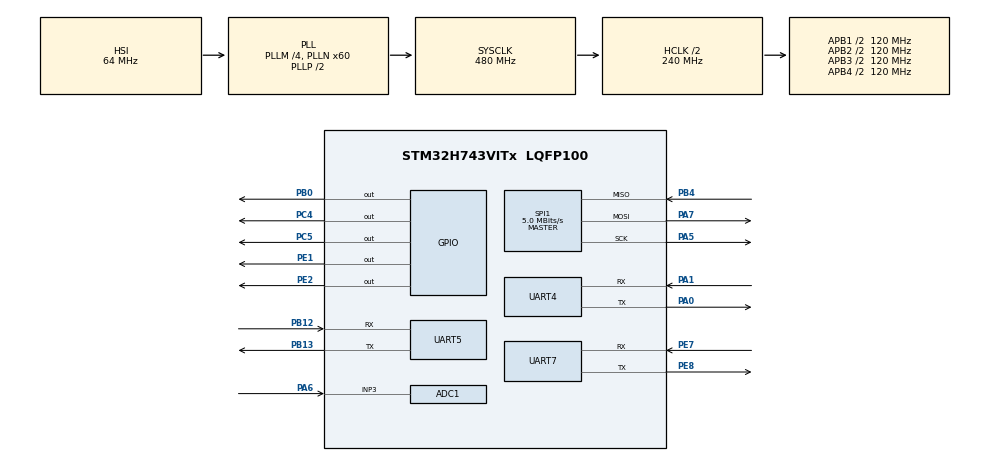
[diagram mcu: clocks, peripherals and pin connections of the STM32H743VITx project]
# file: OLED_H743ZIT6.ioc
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ADC1.Channel-0\#ChannelRegularConversion=ADC_CHANNEL_3
ADC1.NbrOfConversionFlag=1
ADC1.OffsetNumber-0\#ChannelRegularConversion=ADC_OFFSET_NONE
ADC1.OffsetSignedSaturation-0\#ChannelRegularConversion=DISABLE
ADC1.Rank-0\#ChannelRegularConversion=1
ADC1.Resolution=ADC_RESOLUTION_12B
ADC1.SamplingTime-0\#ChannelRegularConversion=ADC_SAMPLETIME_810CYCLES_5
ADC1.master=1
CORTEX_M7.AccessPermission_Spec=MPU_REGION_FULL_ACCESS
CORTEX_M7.DisableExec_Spec=MPU_INSTRUCTION_ACCESS_ENABLE
CORTEX_M7.default_mode_Activation=1
Dma.Request0=UART4_RX
Dma.Request1=UART4_TX
Dma.Request2=UART5_RX
Dma.Request3=UART7_RX
Dma.Request4=UART7_TX
Dma.UART4_RX.0.Direction=DMA_PERIPH_TO_MEMORY
Dma.UART4_RX.0.EventEnable=DISABLE
Dma.UART4_RX.0.FIFOMode=DMA_FIFOMODE_DISABLE
Dma.UART4_RX.0.Instance=DMA1_Stream0
Dma.UART4_RX.0.MemDataAlignment=DMA_MDATAALIGN_BYTE
Dma.UART4_RX.0.MemInc=DMA_MINC_ENABLE
Dma.UART4_RX.0.Mode=DMA_CIRCULAR
Dma.UART4_RX.0.PeriphDataAlignment=DMA_PDATAALIGN_BYTE
Dma.UART4_RX.0.PeriphInc=DMA_PINC_DISABLE
Dma.UART4_RX.0.Polarity=HAL_DMAMUX_REQ_GEN_RISING
Dma.UART4_RX.0.Priority=DMA_PRIORITY_LOW
Dma.UART4_RX.0.RequestNumber=1
Dma.UART4_RX.0.SignalID=NONE
Dma.UART4_RX.0.SyncEnable=DISABLE
Dma.UART4_RX.0.SyncPolarity=HAL_DMAMUX_SYNC_NO_EVENT
Dma.UART4_RX.0.SyncRequestNumber=1
Dma.UART4_RX.0.SyncSignalID=NONE
Dma.UART4_TX.1.Direction=DMA_MEMORY_TO_PERIPH
Dma.UART4_TX.1.EventEnable=DISABLE
Dma.UART4_TX.1.FIFOMode=DMA_FIFOMODE_DISABLE
Dma.UART4_TX.1.Instance=DMA1_Stream1
Dma.UART4_TX.1.MemDataAlignment=DMA_MDATAALIGN_BYTE
Dma.UART4_TX.1.MemInc=DMA_MINC_ENABLE
Dma.UART4_TX.1.Mode=DMA_NORMAL
Dma.UART4_TX.1.PeriphDataAlignment=DMA_PDATAALIGN_BYTE
Dma.UART4_TX.1.PeriphInc=DMA_PINC_DISABLE
Dma.UART4_TX.1.Polarity=HAL_DMAMUX_REQ_GEN_RISING
Dma.UART4_TX.1.Priority=DMA_PRIORITY_LOW
Dma.UART4_TX.1.RequestNumber=1
Dma.UART4_TX.1.SignalID=NONE
Dma.UART4_TX.1.SyncEnable=DISABLE
Dma.UART4_TX.1.SyncPolarity=HAL_DMAMUX_SYNC_NO_EVENT
Dma.UART4_TX.1.SyncRequestNumber=1
Dma.UART4_TX.1.SyncSignalID=NONE
Dma.UART5_RX.2.Direction=DMA_PERIPH_TO_MEMORY
Dma.UART5_RX.2.EventEnable=DISABLE
Dma.UART5_RX.2.FIFOMode=DMA_FIFOMODE_DISABLE
Dma.UART5_RX.2.Instance=DMA1_Stream2
Dma.UART5_RX.2.MemDataAlignment=DMA_MDATAALIGN_BYTE
Dma.UART5_RX.2.MemInc=DMA_MINC_ENABLE
Dma.UART5_RX.2.Mode=DMA_CIRCULAR
Dma.UART5_RX.2.PeriphDataAlignment=DMA_PDATAALIGN_BYTE
Dma.UART5_RX.2.PeriphInc=DMA_PINC_DISABLE
Dma.UART5_RX.2.Polarity=HAL_DMAMUX_REQ_GEN_RISING
Dma.UART5_RX.2.Priority=DMA_PRIORITY_LOW
Dma.UART5_RX.2.RequestNumber=1
Dma.UART5_RX.2.SignalID=NONE
Dma.UART5_RX.2.SyncEnable=DISABLE
Dma.UART5_RX.2.SyncPolarity=HAL_DMAMUX_SYNC_NO_EVENT
Dma.UART5_RX.2.SyncRequestNumber=1
Dma.UART5_RX.2.SyncSignalID=NONE
Dma.UART7_RX.3.Direction=DMA_PERIPH_TO_MEMORY
Dma.UART7_RX.3.EventEnable=DISABLE
Dma.UART7_RX.3.FIFOMode=DMA_FIFOMODE_DISABLE
Dma.UART7_RX.3.Instance=DMA1_Stream3
Dma.UART7_RX.3.MemDataAlignment=DMA_MDATAALIGN_BYTE
Dma.UART7_RX.3.MemInc=DMA_MINC_ENABLE
Dma.UART7_RX.3.Mode=DMA_CIRCULAR
Dma.UART7_RX.3.PeriphDataAlignment=DMA_PDATAALIGN_BYTE
Dma.UART7_RX.3.PeriphInc=DMA_PINC_DISABLE
Dma.UART7_RX.3.Polarity=HAL_DMAMUX_REQ_GEN_RISING
Dma.UART7_RX.3.Priority=DMA_PRIORITY_LOW
Dma.UART7_RX.3.RequestNumber=1
Dma.UART7_RX.3.SignalID=NONE
Dma.UART7_RX.3.SyncEnable=DISABLE
Dma.UART7_RX.3.SyncPolarity=HAL_DMAMUX_SYNC_NO_EVENT
Dma.UART7_RX.3.SyncRequestNumber=1
Dma.UART7_RX.3.SyncSignalID=NONE
Dma.UART7_TX.4.Direction=DMA_MEMORY_TO_PERIPH
Dma.UART7_TX.4.EventEnable=DISABLE
Dma.UART7_TX.4.FIFOMode=DMA_FIFOMODE_DISABLE
Dma.UART7_TX.4.Instance=DMA1_Stream4
Dma.UART7_TX.4.MemDataAlignment=DMA_MDATAALIGN_BYTE
Dma.UART7_TX.4.MemInc=DMA_MINC_ENABLE
Dma.UART7_TX.4.Mode=DMA_NORMAL
Dma.UART7_TX.4.PeriphDataAlignment=DMA_PDATAALIGN_BYTE
Dma.UART7_TX.4.PeriphInc=DMA_PINC_DISABLE
Dma.UART7_TX.4.Polarity=HAL_DMAMUX_REQ_GEN_RISING
Dma.UART7_TX.4.Priority=DMA_PRIORITY_LOW
Dma.UART7_TX.4.RequestNumber=1
Dma.UART7_TX.4.SignalID=NONE
Dma.UART7_TX.4.SyncEnable=DISABLE
Dma.UART7_TX.4.SyncPolarity=HAL_DMAMUX_SYNC_NO_EVENT
Dma.UART7_TX.4.SyncRequestNumber=1
Dma.UART7_TX.4.SyncSignalID=NONE
Mcu.Family=STM32H7
Mcu.Name=STM32H743VITx
Mcu.Package=LQFP100
NVIC.DMA1_Stream0_IRQn=true\:0\:0\:false\:false\:true\:false\:true\:true
NVIC.DMA1_Stream1_IRQn=true\:0\:0\:false\:false\:true\:false\:true\:true
NVIC.DMA1_Stream2_IRQn=true\:0\:0\:false\:false\:true\:false\:true\:true
NVIC.DMA1_Stream3_IRQn=true\:0\:0\:false\:false\:true\:false\:true\:true
NVIC.DMA1_Stream4_IRQn=true\:0\:0\:false\:false\:true\:false\:true\:true
NVIC.PriorityGroup=NVIC_PRIORITYGROUP_4
NVIC.TIM3_IRQn=true\:0\:0\:false\:false\:true\:true\:true\:true
NVIC.UART4_IRQn=true\:4\:0\:true\:false\:true\:true\:true\:true
NVIC.UART5_IRQn=true\:2\:0\:true\:false\:true\:true\:true\:true
NVIC.UART7_IRQn=true\:6\:0\:true\:false\:true\:true\:true\:true
PA0.Mode=Asynchronous
PA0.Signal=UART4_TX
PA1.Mode=Asynchronous
PA1.Signal=UART4_RX
PA5.Mode=Full_Duplex_Master
PA5.Signal=SPI1_SCK
PA6.Signal=ADCx_INP3
PA7.Mode=Full_Duplex_Master
PA7.Signal=SPI1_MOSI
PB0.Signal=GPIO_Output
PB12.Mode=Asynchronous
PB12.Signal=UART5_RX
PB13.Mode=Asynchronous
PB13.Signal=UART5_TX
PB4\ (NJTRST).Mode=Full_Duplex_Master
PB4\ (NJTRST).Signal=SPI1_MISO
PC4.Signal=GPIO_Output
PC5.Signal=GPIO_Output
PE1.PinState=GPIO_PIN_RESET
PE1.Signal=GPIO_Output
PE2.PinState=GPIO_PIN_RESET
PE2.Signal=GPIO_Output
PE7.Mode=Asynchronous
PE7.Signal=UART7_RX
PE8.Mode=Asynchronous
PE8.Signal=UART7_TX
PH0-OSC_IN\ (PH0).Mode=HSE-External-Oscillator
PH0-OSC_IN\ (PH0).Signal=RCC_OSC_IN
PH1-OSC_OUT\ (PH1).Mode=HSE-External-Oscillator
PH1-OSC_OUT\ (PH1).Signal=RCC_OSC_OUT
ProjectManager.HeapSize=0x200
ProjectManager.StackSize=0x400
ProjectManager.TargetToolchain=MDK-ARM V5.32
RCC.ADCFreq_Value=32000000
RCC.APB1Freq_Value=120000000
RCC.APB2Freq_Value=120000000
RCC.APB3Freq_Value=120000000
RCC.APB4Freq_Value=120000000
RCC.CortexFreq_Value=480000000
RCC.D1PPRE=RCC_APB3_DIV2
RCC.D2PPRE1=RCC_APB1_DIV2
RCC.D2PPRE2=RCC_APB2_DIV2
RCC.D3PPRE=RCC_APB4_DIV2
RCC.DIVM1=4
RCC.DIVM2=4
RCC.DIVN1=60
RCC.DIVN2=12
RCC.DIVP2=6
RCC.DIVQ1=12
RCC.HCLKFreq_Value=240000000
RCC.HPRE=RCC_HCLK_DIV2
RCC.PLL2FRACN=0
RCC.PLL3FRACN=0
RCC.PLLFRACN=0
RCC.SYSCLKFreq_VALUE=480000000
RCC.SYSCLKSource=RCC_SYSCLKSOURCE_PLLCLK
RCC.USBFreq_Value=80000000
SH.ADCx_INP3.0=ADC1_INP3,IN3-Single-Ended
SPI1.BaudRatePrescaler=SPI_BAUDRATEPRESCALER_16
SPI1.CLKPhase=SPI_PHASE_2EDGE
SPI1.CLKPolarity=SPI_POLARITY_HIGH
SPI1.CalculateBaudRate=5.0 MBits/s
SPI1.DataSize=SPI_DATASIZE_8BIT
SPI1.Direction=SPI_DIRECTION_2LINES
SPI1.FifoThreshold=SPI_FIFO_THRESHOLD_01DATA
SPI1.MasterKeepIOState=SPI_MASTER_KEEP_IO_STATE_ENABLE
SPI1.Mode=SPI_MODE_MASTER
SPI1.NSSPMode=SPI_NSS_PULSE_DISABLE
SPI1.VirtualType=VM_MASTER
TIM3.Period=200-1
TIM3.Prescaler=2400-1
VP_MEMORYMAP_VS_MEMORYMAP.Mode=CurAppReg
VP_TIM3_VS_ClockSourceINT.Mode=Internal
board=custom

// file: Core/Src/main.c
/* USER CODE BEGIN Header */
/**
  ******************************************************************************
  * @file           : main.c
  * @brief          : Main program body
  ******************************************************************************
  * @attention
  *
  * Copyright (c) 2026 STMicroelectronics.
  * All rights reserved.
  *
  * This software is licensed under terms that can be found in the LICENSE file
  * in the root directory of this software component.
  * If no LICENSE file comes with this software, it is provided AS-IS.
  *
  ******************************************************************************
  */
/* USER CODE END Header */
#include "main.h"
#include "adc.h"
#include "dma.h"
#include "spi.h"
#include "tim.h"
#include "usart.h"
#include "gpio.h"

/* USER CODE BEGIN Includes */
#include "test.h"
#include "OLED_1in51.h"
#include "heart_adc.h"
#include "JY62.h"
#include "string.h"
#include "aspro.h"
/* USER CODE END Includes */

/* USER CODE BEGIN PV */
// 在main.c中，将BlackImage放在DTCM（0x20000000区域）
UBYTE BlackImage[1024];
UBYTE display_buf[30];
uint8_t Rx_buffer[64];
#define Rx_size 64
uint8_t Rx_len = 0;   // 接收到的数据长度
uint8_t flag = 0;       // 接收完成标志
JY62_Instance_t jy62;
uint8_t fall[30];
uint8_t Tx_Buffer[30];
uint8_t AS_buffer[64];
uint8_t AS_rx_buffer[10];
uint8_t AS_len = 0;
uint8_t light_time = 0;
uint16_t  len = 0;
uint16_t light_pin = 0;

/* USER CODE END PV */

void SystemClock_Config(void);
static void MPU_Config(void);

/* USER CODE BEGIN 0 */
	uint32_t last_display_tick = 0;
	uint32_t last_jy_tick = 0;
	uint32_t last_aspro_tick = 0;
/* USER CODE END 0 */

int main(void)
{

  /* MPU Configuration--------------------------------------------------------*/
  MPU_Config();

  /* MCU Configuration--------------------------------------------------------*/

  /* Reset of all peripherals, Initializes the Flash interface and the Systick. */
  HAL_Init();

  /* Configure the system clock */
  SystemClock_Config();

  /* Initialize all configured peripherals */
  MX_GPIO_Init();
  MX_DMA_Init();
  MX_SPI1_Init();
  MX_ADC1_Init();
  MX_UART4_Init();
  MX_TIM3_Init();
  MX_UART5_Init();
  MX_UART7_Init();
  /* USER CODE BEGIN 2 */
	System_Init();
  OLED_1IN51_Init();
  Paint_NewImage(BlackImage, OLED_1IN51_WIDTH, OLED_1IN51_HEIGHT, 0, BLACK);
  Paint_SelectImage(BlackImage);
  uint32_t last_send_tick = 0;
  HAL_TIM_Base_Start_IT(&htim3);

	HAL_UART_Receive_DMA(&huart4, Rx_buffer, Rx_size);
	__HAL_UART_ENABLE_IT(&huart4, UART_IT_IDLE);

	JY62_Init(&jy62);
	HAL_UART_Receive_DMA(&huart5, jy62.rx_fifo, JY_BUF_SIZE);
	__HAL_UART_ENABLE_IT(&huart5, UART_IT_IDLE);

  /* USER CODE END 2 */

  /* Infinite loop */
  /* USER CODE BEGIN WHILE */
  while (1)
  {
			if(flag)
				{
					flag = 0;
					Paint_ClearWindows(0, 30, 63, 90, BLACK);
					Paint_DrawString_EN(0, 30,(char*)Rx_buffer, &Font16, WHITE, BLACK);
					OLED_1IN51_Display(BlackImage);
					if (HAL_GetTick() - last_aspro_tick >= 1000)
					{
						HAL_UART_Transmit_DMA(&huart7,AS_buffer,len);
						last_aspro_tick = HAL_GetTick();
					}
					//memset(Rx_buffer, 0, Rx_size);
				}
				if(HAL_GetTick() - last_jy_tick >= 100)
				{
					Paint_ClearWindows(0, 80, 64, 127, BLACK);
					sprintf((char*)fall,"Fall:%.1f%%",(jy62.fall_probability *100));
					 Paint_DrawString_EN(0, 80,(char*)fall, &Font16, WHITE, BLACK);
					//Paint_DrawNum(0, 90,(jy62.fall_probability *100), &Font16, 2, WHITE, BLACK);
					OLED_1IN51_Display(BlackImage);
					last_jy_tick = HAL_GetTick();
				}

		if (HAL_GetTick() - last_display_tick >= 500)
    {
        //Paint_Clear(BLACK);
				Paint_ClearWindows(0, 0, 63, 60, BLACK);
        sprintf((char*)display_buf, "BPM: %d", BPM);
        Paint_DrawString_EN(0, 0,(char*)display_buf, &Font16, WHITE, BLACK);

        if(QS)
				{ // 如果检测到心跳瞬间，可以在屏幕上显示个符号
					QS = false;
					Paint_DrawChar(50, 30, 'B', &Font8, WHITE, BLACK);
				}
				//Paint_ClearWindows(0, 0, 0, 60, BLACK);
        OLED_1IN51_Display(BlackImage);
				len = Process_All_Data((char*)Rx_buffer,BPM,(jy62.fall_probability *100),(char*)AS_buffer);

				HAL_UART_Transmit_DMA(&huart4,AS_buffer,len);
				if (AS_len > 0)
				{
        if (AS_rx_buffer[0] == '1')
				{
					light_pin = GPIO_PIN_1;
					light_time = 0;
				}
				else if (AS_rx_buffer[0] == '2')
				{
					light_pin = GPIO_PIN_2;
					light_time = 0;
				}
        AS_len = 0;
				}

				if (light_pin != 0)
				{
					HAL_GPIO_TogglePin(GPIOE, light_pin); // light_pin 是谁，就反转谁
					light_time++;
					if (light_time >= 10)
					{
            light_pin = 0; // 闪够10次（5秒），清零引脚，停止闪烁
					}
				}
        last_display_tick = HAL_GetTick();
    }
		if (HAL_GetTick() - last_aspro_tick >= 1000)
		{
			HAL_UART_Transmit_DMA(&huart7,AS_buffer,len);
			last_aspro_tick = HAL_GetTick();
		}
    /* USER CODE END WHILE */

  }
}

void SystemClock_Config(void)
{
  RCC_OscInitTypeDef RCC_OscInitStruct = {0};
  RCC_ClkInitTypeDef RCC_ClkInitStruct = {0};

  /** Supply configuration update enable
  */
  HAL_PWREx_ConfigSupply(PWR_LDO_SUPPLY);

  /** Configure the main internal regulator output voltage
  */
  __HAL_PWR_VOLTAGESCALING_CONFIG(PWR_REGULATOR_VOLTAGE_SCALE0);

  while(!__HAL_PWR_GET_FLAG(PWR_FLAG_VOSRDY)) {}

  /** Initializes the RCC Oscillators according to the specified parameters
  * in the RCC_OscInitTypeDef structure.
  */
  RCC_OscInitStruct.OscillatorType = RCC_OSCILLATORTYPE_HSI;
  RCC_OscInitStruct.HSIState = RCC_HSI_DIV1;
  RCC_OscInitStruct.HSICalibrationValue = RCC_HSICALIBRATION_DEFAULT;
  RCC_OscInitStruct.PLL.PLLState = RCC_PLL_ON;
  RCC_OscInitStruct.PLL.PLLSource = RCC_PLLSOURCE_HSI;
  RCC_OscInitStruct.PLL.PLLM = 4;
  RCC_OscInitStruct.PLL.PLLN = 60;
  RCC_OscInitStruct.PLL.PLLP = 2;
  RCC_OscInitStruct.PLL.PLLQ = 12;
  RCC_OscInitStruct.PLL.PLLR = 2;
  RCC_OscInitStruct.PLL.PLLRGE = RCC_PLL1VCIRANGE_3;
  RCC_OscInitStruct.PLL.PLLVCOSEL = RCC_PLL1VCOWIDE;
  RCC_OscInitStruct.PLL.PLLFRACN = 0;
  if (HAL_RCC_OscConfig(&RCC_OscInitStruct) != HAL_OK)
  {
    Error_Handler();
  }

  /** Initializes the CPU, AHB and APB buses clocks
  */
  RCC_ClkInitStruct.ClockType = RCC_CLOCKTYPE_HCLK|RCC_CLOCKTYPE_SYSCLK
                              |RCC_CLOCKTYPE_PCLK1|RCC_CLOCKTYPE_PCLK2
                              |RCC_CLOCKTYPE_D3PCLK1|RCC_CLOCKTYPE_D1PCLK1;
  RCC_ClkInitStruct.SYSCLKSource = RCC_SYSCLKSOURCE_PLLCLK;
  RCC_ClkInitStruct.SYSCLKDivider = RCC_SYSCLK_DIV1;
  RCC_ClkInitStruct.AHBCLKDivider = RCC_HCLK_DIV2;
  RCC_ClkInitStruct.APB3CLKDivider = RCC_APB3_DIV2;
  RCC_ClkInitStruct.APB1CLKDivider = RCC_APB1_DIV2;
  RCC_ClkInitStruct.APB2CLKDivider = RCC_APB2_DIV2;
  RCC_ClkInitStruct.APB4CLKDivider = RCC_APB4_DIV2;

  if (HAL_RCC_ClockConfig(&RCC_ClkInitStruct, FLASH_LATENCY_4) != HAL_OK)
  {
    Error_Handler();
  }
}

/* USER CODE BEGIN 4 */
void HAL_TIM_PeriodElapsedCallback(TIM_HandleTypeDef *htim)
{
    if (htim->Instance == TIM3)
    {
       HeartRate_Process(); // 核心采样和计算
			jy62.fall_probability = Fall_Probability(&jy62);
    }
}
/* USER CODE END 4 */

 /* MPU Configuration */

void MPU_Config(void)
{
  MPU_Region_InitTypeDef MPU_InitStruct = {0};

  /* Disables the MPU */
  HAL_MPU_Disable();

  /** Initializes and configures the Region and the memory to be protected
  */
  MPU_InitStruct.Enable = MPU_REGION_ENABLE;
  MPU_InitStruct.Number = MPU_REGION_NUMBER0;
  MPU_InitStruct.BaseAddress = 0x0;
  MPU_InitStruct.Size = MPU_REGION_SIZE_4GB;
  MPU_InitStruct.SubRegionDisable = 0x87;
  MPU_InitStruct.TypeExtField = MPU_TEX_LEVEL0;
  MPU_InitStruct.AccessPermission = MPU_REGION_FULL_ACCESS;
  MPU_InitStruct.DisableExec = MPU_INSTRUCTION_ACCESS_ENABLE;
  MPU_InitStruct.IsShareable = MPU_ACCESS_SHAREABLE;
  MPU_InitStruct.IsCacheable = MPU_ACCESS_NOT_CACHEABLE;
  MPU_InitStruct.IsBufferable = MPU_ACCESS_NOT_BUFFERABLE;

  HAL_MPU_ConfigRegion(&MPU_InitStruct);
  /* Enables the MPU */
  HAL_MPU_Enable(MPU_PRIVILEGED_DEFAULT);

}

void Error_Handler(void)
{
  __disable_irq();
  while (1)
  {
  }
}
